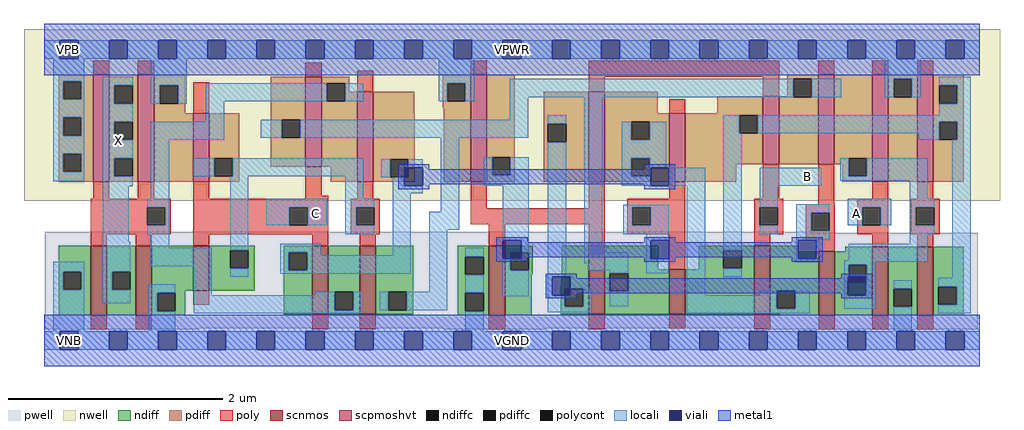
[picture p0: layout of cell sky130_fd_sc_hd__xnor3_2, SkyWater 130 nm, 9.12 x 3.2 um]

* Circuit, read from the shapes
.subckt sky130_fd_sc_hd__xnor3_2 A B C VGND VNB VPB VPWR X
XM1 X n1 VGND VNB sky130_fd_pr__nfet_01v8 w=0.65 l=0.15 m=2
XM2 n2 C VGND VNB sky130_fd_pr__nfet_01v8 w=0.42 l=0.15
XM3 n1 C n3 VNB sky130_fd_pr__nfet_01v8 w=0.64 l=0.15
XM4 n4 n2 n1 VNB sky130_fd_pr__nfet_01v8 w=0.64 l=0.15
XM5 n5 B VGND VNB sky130_fd_pr__nfet_01v8 w=0.65 l=0.15
XM6 n4 B n6 VNB sky130_fd_pr__nfet_01v8 w=0.64 l=0.15
XM7 n7 n5 n4 VNB sky130_fd_pr__nfet_01v8 w=0.42 l=0.15
XM8 n3 B n7 VNB sky130_fd_pr__nfet_01v8 w=0.64 l=0.15
XM9 n6 n5 n3 VNB sky130_fd_pr__nfet_01v8 w=0.6 l=0.15
XM10 VGND A n6 VNB sky130_fd_pr__nfet_01v8 w=0.64 l=0.15
XM11 n7 n6 VGND VNB sky130_fd_pr__nfet_01v8 w=0.64 l=0.15
XM12 X n1 VPWR VPB sky130_fd_pr__pfet_01v8_hvt w=1 l=0.15 m=2
XM13 n2 C VPWR VPB sky130_fd_pr__pfet_01v8_hvt w=0.64 l=0.15
XM14 n1 C n4 VPB sky130_fd_pr__pfet_01v8_hvt w=0.84 l=0.15
XM15 n3 n2 n1 VPB sky130_fd_pr__pfet_01v8_hvt w=0.84 l=0.15
XM16 n5 B VPWR VPB sky130_fd_pr__pfet_01v8_hvt w=1 l=0.15
XM17 n3 B n6 VPB sky130_fd_pr__pfet_01v8_hvt w=0.84 l=0.15
XM18 n7 n5 n3 VPB sky130_fd_pr__pfet_01v8_hvt w=0.64 l=0.15
XM19 n4 B n7 VPB sky130_fd_pr__pfet_01v8_hvt w=0.64 l=0.15
XM20 n6 n5 n4 VPB sky130_fd_pr__pfet_01v8_hvt w=0.84 l=0.15
XM21 VPWR A n6 VPB sky130_fd_pr__pfet_01v8_hvt w=1 l=0.15
XM22 n7 n6 VPWR VPB sky130_fd_pr__pfet_01v8_hvt w=1 l=0.15
.ends

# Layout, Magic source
magic
tech sky130B
magscale 1 2
<< nwell >>
rect -38 261 1786 582
<< pwell >>
rect 1 201 1433 203
rect 1 23 1744 201
rect 1 21 289 23
rect 747 21 937 23
rect 1348 21 1744 23
rect 30 -17 64 21
<< scnmos >>
rect 87 47 117 177
rect 171 47 201 177
rect 278 93 308 177
rect 501 49 531 177
rect 589 49 619 177
rect 831 47 861 177
rect 1017 49 1047 177
rect 1168 49 1198 133
rect 1327 49 1357 177
rect 1447 47 1477 167
rect 1547 47 1577 175
rect 1631 47 1661 175
<< scpmoshvt >>
rect 91 297 121 497
rect 175 297 205 497
rect 278 297 308 425
rect 488 325 518 493
rect 585 297 615 465
rect 797 297 827 497
rect 1017 297 1047 465
rect 1168 297 1198 425
rect 1343 329 1373 457
rect 1446 329 1476 497
rect 1547 297 1577 497
rect 1631 297 1661 497
<< ndiff >>
rect 27 129 87 177
rect 27 95 35 129
rect 69 95 87 129
rect 27 47 87 95
rect 117 129 171 177
rect 117 95 127 129
rect 161 95 171 129
rect 117 47 171 95
rect 201 93 278 177
rect 308 169 393 177
rect 308 135 347 169
rect 381 135 393 169
rect 308 93 393 135
rect 447 165 501 177
rect 447 131 457 165
rect 491 131 501 165
rect 201 89 263 93
rect 201 55 211 89
rect 245 55 263 89
rect 201 47 263 55
rect 447 49 501 131
rect 531 91 589 177
rect 531 57 543 91
rect 577 57 589 91
rect 531 49 589 57
rect 619 91 689 177
rect 619 57 643 91
rect 677 57 689 91
rect 619 49 689 57
rect 773 157 831 177
rect 773 123 787 157
rect 821 123 831 157
rect 773 89 831 123
rect 773 55 787 89
rect 821 55 831 89
rect 773 47 831 55
rect 861 165 913 177
rect 861 131 871 165
rect 905 131 913 165
rect 861 124 913 131
rect 861 47 911 124
rect 967 104 1017 177
rect 965 97 1017 104
rect 965 63 973 97
rect 1007 63 1017 97
rect 965 49 1017 63
rect 1047 133 1147 177
rect 1223 169 1327 177
rect 1223 135 1269 169
rect 1303 135 1327 169
rect 1223 133 1327 135
rect 1047 126 1168 133
rect 1047 92 1057 126
rect 1091 92 1168 126
rect 1047 49 1168 92
rect 1198 49 1327 133
rect 1357 167 1407 177
rect 1497 167 1547 175
rect 1357 93 1447 167
rect 1357 59 1369 93
rect 1403 59 1447 93
rect 1357 49 1447 59
rect 1374 47 1447 49
rect 1477 142 1547 167
rect 1477 108 1503 142
rect 1537 108 1547 142
rect 1477 47 1547 108
rect 1577 97 1631 175
rect 1577 63 1587 97
rect 1621 63 1631 97
rect 1577 47 1631 63
rect 1661 101 1718 175
rect 1661 67 1671 101
rect 1705 67 1718 101
rect 1661 47 1718 67
<< pdiff >>
rect 27 485 91 497
rect 27 451 35 485
rect 69 451 91 485
rect 27 417 91 451
rect 27 383 35 417
rect 69 383 91 417
rect 27 349 91 383
rect 27 315 35 349
rect 69 315 91 349
rect 27 297 91 315
rect 121 477 175 497
rect 121 443 131 477
rect 165 443 175 477
rect 121 409 175 443
rect 121 375 131 409
rect 165 375 175 409
rect 121 341 175 375
rect 121 307 131 341
rect 165 307 175 341
rect 121 297 175 307
rect 205 477 263 497
rect 205 443 216 477
rect 250 443 263 477
rect 205 425 263 443
rect 205 297 278 425
rect 308 341 364 425
rect 308 307 318 341
rect 352 307 364 341
rect 423 413 488 493
rect 423 379 444 413
rect 478 379 488 413
rect 423 325 488 379
rect 518 481 570 493
rect 518 447 528 481
rect 562 465 570 481
rect 745 481 797 497
rect 562 447 585 465
rect 518 325 585 447
rect 308 297 364 307
rect 535 297 585 325
rect 615 423 691 465
rect 745 447 753 481
rect 787 447 797 481
rect 745 435 797 447
rect 615 339 692 423
rect 615 305 646 339
rect 680 305 692 339
rect 615 297 692 305
rect 746 297 797 435
rect 827 343 879 497
rect 827 309 837 343
rect 871 309 879 343
rect 827 297 879 309
rect 933 405 1017 465
rect 933 371 941 405
rect 975 371 1017 405
rect 933 297 1017 371
rect 1047 425 1146 465
rect 1388 489 1446 497
rect 1388 457 1400 489
rect 1258 425 1343 457
rect 1047 409 1168 425
rect 1047 375 1097 409
rect 1131 375 1168 409
rect 1047 341 1168 375
rect 1047 307 1097 341
rect 1131 307 1168 341
rect 1047 297 1168 307
rect 1198 421 1343 425
rect 1198 387 1299 421
rect 1333 387 1343 421
rect 1198 329 1343 387
rect 1373 455 1400 457
rect 1434 455 1446 489
rect 1373 329 1446 455
rect 1476 341 1547 497
rect 1476 329 1503 341
rect 1198 297 1293 329
rect 1491 307 1503 329
rect 1537 307 1547 341
rect 1491 297 1547 307
rect 1577 489 1631 497
rect 1577 455 1587 489
rect 1621 455 1631 489
rect 1577 297 1631 455
rect 1661 477 1718 497
rect 1661 443 1672 477
rect 1706 443 1718 477
rect 1661 409 1718 443
rect 1661 375 1672 409
rect 1706 375 1718 409
rect 1661 297 1718 375
<< ndiffc >>
rect 35 95 69 129
rect 127 95 161 129
rect 347 135 381 169
rect 457 131 491 165
rect 211 55 245 89
rect 543 57 577 91
rect 643 57 677 91
rect 787 123 821 157
rect 787 55 821 89
rect 871 131 905 165
rect 973 63 1007 97
rect 1269 135 1303 169
rect 1057 92 1091 126
rect 1369 59 1403 93
rect 1503 108 1537 142
rect 1587 63 1621 97
rect 1671 67 1705 101
<< pdiffc >>
rect 35 451 69 485
rect 35 383 69 417
rect 35 315 69 349
rect 131 443 165 477
rect 131 375 165 409
rect 131 307 165 341
rect 216 443 250 477
rect 318 307 352 341
rect 444 379 478 413
rect 528 447 562 481
rect 753 447 787 481
rect 646 305 680 339
rect 837 309 871 343
rect 941 371 975 405
rect 1097 375 1131 409
rect 1097 307 1131 341
rect 1299 387 1333 421
rect 1400 455 1434 489
rect 1503 307 1537 341
rect 1587 455 1621 489
rect 1672 443 1706 477
rect 1672 375 1706 409
<< poly >>
rect 91 497 121 523
rect 175 497 205 523
rect 488 493 518 519
rect 278 425 308 483
rect 585 465 615 504
rect 797 497 827 523
rect 91 265 121 297
rect 175 265 205 297
rect 278 265 308 297
rect 488 271 518 325
rect 1017 493 1373 523
rect 1446 497 1476 523
rect 1547 497 1577 523
rect 1631 497 1661 523
rect 1017 465 1047 493
rect 1343 457 1373 493
rect 1168 425 1198 451
rect 488 265 531 271
rect 585 265 615 297
rect 87 249 236 265
rect 87 215 192 249
rect 226 215 236 249
rect 87 199 236 215
rect 278 249 531 265
rect 278 215 458 249
rect 492 215 531 249
rect 278 199 531 215
rect 573 249 627 265
rect 573 215 583 249
rect 617 215 627 249
rect 797 247 827 297
rect 1017 247 1047 297
rect 1168 265 1198 297
rect 1343 265 1373 329
rect 797 217 1047 247
rect 573 199 627 215
rect 87 177 117 199
rect 171 177 201 199
rect 278 177 308 199
rect 501 177 531 199
rect 589 177 619 199
rect 831 177 861 217
rect 1017 177 1047 217
rect 1089 249 1198 265
rect 1089 215 1099 249
rect 1133 215 1198 249
rect 1089 199 1198 215
rect 278 67 308 93
rect 87 21 117 47
rect 171 21 201 47
rect 501 21 531 49
rect 589 21 619 49
rect 1168 133 1198 199
rect 1327 249 1381 265
rect 1446 256 1476 329
rect 1547 265 1577 297
rect 1631 265 1661 297
rect 1446 255 1477 256
rect 1327 215 1337 249
rect 1371 215 1381 249
rect 1327 199 1381 215
rect 1423 239 1477 255
rect 1423 205 1433 239
rect 1467 205 1477 239
rect 1327 177 1357 199
rect 1423 189 1477 205
rect 1519 249 1577 265
rect 1519 215 1529 249
rect 1563 215 1577 249
rect 1519 199 1577 215
rect 1619 249 1673 265
rect 1619 215 1629 249
rect 1663 215 1673 249
rect 1619 199 1673 215
rect 1447 167 1477 189
rect 1547 175 1577 199
rect 1631 175 1661 199
rect 831 21 861 47
rect 1017 21 1047 49
rect 1168 23 1198 49
rect 1327 21 1357 49
rect 1447 21 1477 47
rect 1547 21 1577 47
rect 1631 21 1661 47
<< polycont >>
rect 192 215 226 249
rect 458 215 492 249
rect 583 215 617 249
rect 1099 215 1133 249
rect 1337 215 1371 249
rect 1433 205 1467 239
rect 1529 215 1563 249
rect 1629 215 1663 249
<< locali >>
rect 0 527 29 561
rect 63 527 121 561
rect 155 527 213 561
rect 247 527 305 561
rect 339 527 397 561
rect 431 527 489 561
rect 523 527 581 561
rect 615 527 673 561
rect 707 527 765 561
rect 799 527 857 561
rect 891 527 949 561
rect 983 527 1041 561
rect 1075 527 1133 561
rect 1167 527 1225 561
rect 1259 527 1317 561
rect 1351 527 1409 561
rect 1443 527 1501 561
rect 1535 527 1593 561
rect 1627 527 1685 561
rect 1719 527 1748 561
rect 17 485 75 527
rect 17 451 35 485
rect 69 451 75 485
rect 17 417 75 451
rect 17 383 35 417
rect 69 383 75 417
rect 17 349 75 383
rect 17 315 35 349
rect 69 315 75 349
rect 17 298 75 315
rect 109 477 165 493
rect 109 443 131 477
rect 199 477 266 527
rect 737 481 803 527
rect 1571 489 1638 527
rect 199 443 216 477
rect 250 443 266 477
rect 302 447 528 481
rect 562 447 596 481
rect 737 447 753 481
rect 787 447 803 481
rect 870 455 1400 489
rect 1434 455 1489 489
rect 1571 455 1587 489
rect 1621 455 1638 489
rect 1672 477 1731 493
rect 109 409 165 443
rect 302 409 336 447
rect 870 413 904 455
rect 109 375 131 409
rect 109 341 165 375
rect 109 307 131 341
rect 109 288 165 307
rect 199 375 336 409
rect 404 379 444 413
rect 478 379 904 413
rect 941 405 975 421
rect 109 185 158 288
rect 199 265 233 375
rect 279 307 318 341
rect 352 307 596 341
rect 192 249 233 265
rect 226 215 233 249
rect 192 199 233 215
rect 17 129 75 147
rect 17 95 35 129
rect 69 95 75 129
rect 17 17 75 95
rect 109 129 161 185
rect 198 173 233 199
rect 198 139 313 173
rect 109 95 127 129
rect 109 70 161 95
rect 195 89 245 105
rect 195 55 211 89
rect 195 17 245 55
rect 279 85 313 139
rect 347 169 381 307
rect 562 265 596 307
rect 630 305 646 339
rect 680 323 707 339
rect 651 289 673 305
rect 651 275 707 289
rect 415 249 528 265
rect 415 215 458 249
rect 492 215 528 249
rect 562 249 617 265
rect 562 215 583 249
rect 562 199 617 215
rect 347 119 381 135
rect 441 165 517 181
rect 441 131 457 165
rect 491 159 517 165
rect 651 159 685 275
rect 741 241 775 379
rect 821 309 837 343
rect 871 309 905 343
rect 821 289 905 309
rect 491 131 685 159
rect 441 125 685 131
rect 719 207 775 241
rect 719 91 753 207
rect 857 187 905 289
rect 506 85 543 91
rect 279 57 543 85
rect 577 57 593 91
rect 627 57 643 91
rect 677 57 753 91
rect 787 157 821 173
rect 787 89 821 123
rect 279 51 593 57
rect 891 165 905 187
rect 857 131 871 153
rect 857 83 905 131
rect 941 119 975 371
rect 1009 178 1043 455
rect 1706 443 1731 477
rect 1672 421 1731 443
rect 1079 375 1097 409
rect 1131 375 1162 409
rect 1079 341 1162 375
rect 1079 307 1097 341
rect 1131 323 1162 341
rect 1269 387 1299 421
rect 1333 409 1731 421
rect 1333 387 1672 409
rect 1131 307 1133 323
rect 1079 289 1133 307
rect 1167 289 1235 323
rect 1082 249 1167 254
rect 1082 215 1099 249
rect 1133 215 1167 249
rect 1082 199 1167 215
rect 1125 187 1167 199
rect 1009 165 1051 178
rect 1009 144 1091 165
rect 1017 131 1091 144
rect 1057 126 1091 131
rect 1125 153 1133 187
rect 1125 126 1167 153
rect 941 85 949 119
rect 787 17 821 55
rect 941 63 973 85
rect 1007 63 1023 97
rect 1057 64 1091 92
rect 1201 85 1235 289
rect 1269 169 1303 387
rect 1634 375 1672 387
rect 1706 375 1731 409
rect 1337 289 1453 323
rect 1487 307 1503 341
rect 1537 307 1651 341
rect 1487 299 1651 307
rect 1337 249 1371 289
rect 1617 265 1651 299
rect 1337 199 1371 215
rect 1405 239 1467 255
rect 1405 205 1433 239
rect 1501 249 1583 265
rect 1501 215 1529 249
rect 1563 215 1583 249
rect 1617 249 1663 265
rect 1617 215 1629 249
rect 1405 189 1467 205
rect 1617 199 1663 215
rect 1405 187 1446 189
rect 1405 153 1409 187
rect 1443 153 1446 187
rect 1617 181 1651 199
rect 1405 146 1446 153
rect 1503 150 1651 181
rect 1495 147 1651 150
rect 1269 119 1303 135
rect 1495 142 1553 147
rect 1495 119 1503 142
rect 1337 85 1369 93
rect 941 53 1023 63
rect 1201 59 1369 85
rect 1403 59 1430 93
rect 1495 85 1501 119
rect 1537 108 1553 142
rect 1697 117 1731 375
rect 1535 85 1553 108
rect 1495 59 1553 85
rect 1587 97 1621 113
rect 1201 51 1430 59
rect 1587 17 1621 63
rect 1671 101 1731 117
rect 1705 67 1731 101
rect 1671 51 1731 67
rect 0 -17 29 17
rect 63 -17 121 17
rect 155 -17 213 17
rect 247 -17 305 17
rect 339 -17 397 17
rect 431 -17 489 17
rect 523 -17 581 17
rect 615 -17 673 17
rect 707 -17 765 17
rect 799 -17 857 17
rect 891 -17 949 17
rect 983 -17 1041 17
rect 1075 -17 1133 17
rect 1167 -17 1225 17
rect 1259 -17 1317 17
rect 1351 -17 1409 17
rect 1443 -17 1501 17
rect 1535 -17 1593 17
rect 1627 -17 1685 17
rect 1719 -17 1748 17
<< viali >>
rect 29 527 63 561
rect 121 527 155 561
rect 213 527 247 561
rect 305 527 339 561
rect 397 527 431 561
rect 489 527 523 561
rect 581 527 615 561
rect 673 527 707 561
rect 765 527 799 561
rect 857 527 891 561
rect 949 527 983 561
rect 1041 527 1075 561
rect 1133 527 1167 561
rect 1225 527 1259 561
rect 1317 527 1351 561
rect 1409 527 1443 561
rect 1501 527 1535 561
rect 1593 527 1627 561
rect 1685 527 1719 561
rect 673 305 680 323
rect 680 305 707 323
rect 673 289 707 305
rect 857 165 891 187
rect 857 153 871 165
rect 871 153 891 165
rect 1133 289 1167 323
rect 1133 153 1167 187
rect 949 97 983 119
rect 949 85 973 97
rect 973 85 983 97
rect 1409 153 1443 187
rect 1501 108 1503 119
rect 1503 108 1535 119
rect 1501 85 1535 108
rect 29 -17 63 17
rect 121 -17 155 17
rect 213 -17 247 17
rect 305 -17 339 17
rect 397 -17 431 17
rect 489 -17 523 17
rect 581 -17 615 17
rect 673 -17 707 17
rect 765 -17 799 17
rect 857 -17 891 17
rect 949 -17 983 17
rect 1041 -17 1075 17
rect 1133 -17 1167 17
rect 1225 -17 1259 17
rect 1317 -17 1351 17
rect 1409 -17 1443 17
rect 1501 -17 1535 17
rect 1593 -17 1627 17
rect 1685 -17 1719 17
<< metal1 >>
rect 0 561 1748 592
rect 0 527 29 561
rect 63 527 121 561
rect 155 527 213 561
rect 247 527 305 561
rect 339 527 397 561
rect 431 527 489 561
rect 523 527 581 561
rect 615 527 673 561
rect 707 527 765 561
rect 799 527 857 561
rect 891 527 949 561
rect 983 527 1041 561
rect 1075 527 1133 561
rect 1167 527 1225 561
rect 1259 527 1317 561
rect 1351 527 1409 561
rect 1443 527 1501 561
rect 1535 527 1593 561
rect 1627 527 1685 561
rect 1719 527 1748 561
rect 0 496 1748 527
rect 661 323 719 329
rect 661 289 673 323
rect 707 320 719 323
rect 1121 323 1179 329
rect 1121 320 1133 323
rect 707 292 1133 320
rect 707 289 719 292
rect 661 283 719 289
rect 1121 289 1133 292
rect 1167 289 1179 323
rect 1121 283 1179 289
rect 845 187 903 193
rect 845 153 857 187
rect 891 184 903 187
rect 1121 187 1179 193
rect 1121 184 1133 187
rect 891 156 1133 184
rect 891 153 903 156
rect 845 147 903 153
rect 1121 153 1133 156
rect 1167 184 1179 187
rect 1397 187 1455 193
rect 1397 184 1409 187
rect 1167 156 1409 184
rect 1167 153 1179 156
rect 1121 147 1179 153
rect 1397 153 1409 156
rect 1443 153 1455 187
rect 1397 147 1455 153
rect 937 119 995 125
rect 937 85 949 119
rect 983 116 995 119
rect 1489 119 1547 125
rect 1489 116 1501 119
rect 983 88 1501 116
rect 983 85 995 88
rect 937 79 995 85
rect 1489 85 1501 88
rect 1535 85 1547 119
rect 1489 79 1547 85
rect 0 17 1748 48
rect 0 -17 29 17
rect 63 -17 121 17
rect 155 -17 213 17
rect 247 -17 305 17
rect 339 -17 397 17
rect 431 -17 489 17
rect 523 -17 581 17
rect 615 -17 673 17
rect 707 -17 765 17
rect 799 -17 857 17
rect 891 -17 949 17
rect 983 -17 1041 17
rect 1075 -17 1133 17
rect 1167 -17 1225 17
rect 1259 -17 1317 17
rect 1351 -17 1409 17
rect 1443 -17 1501 17
rect 1535 -17 1593 17
rect 1627 -17 1685 17
rect 1719 -17 1748 17
rect 0 -48 1748 -17
<< labels >>
flabel locali s 121 357 155 391 0 FreeSans 340 0 0 0 X
port 8 nsew signal output
flabel locali s 1409 289 1443 323 0 FreeSans 340 0 0 0 B
port 2 nsew signal input
flabel locali s 489 221 523 255 0 FreeSans 340 0 0 0 C
port 3 nsew signal input
flabel locali s 1501 221 1535 255 0 FreeSans 340 0 0 0 A
port 1 nsew signal input
flabel pwell s 30 -17 64 17 0 FreeSans 200 0 0 0 VNB
port 5 nsew ground bidirectional
flabel nwell s 29 527 63 561 0 FreeSans 200 0 0 0 VPB
port 6 nsew power bidirectional
flabel metal1 s 30 -17 64 17 0 FreeSans 200 0 0 0 VGND
port 4 nsew ground bidirectional abutment
flabel metal1 s 29 527 63 561 0 FreeSans 200 0 0 0 VPWR
port 7 nsew power bidirectional abutment
rlabel comment s 0 0 0 0 4 hkscl5hdv1_xnor3_1
flabel comment s 0 544 0 544 3 FreeSans 200 0 0 0 HHNEC
rlabel metal1 s 0 -48 1748 48 1 VGND
port 4 nsew ground bidirectional abutment
rlabel metal1 s 0 496 1748 592 1 VPWR
port 7 nsew power bidirectional abutment
<< properties >>
string FIXED_BBOX 0 0 1748 544
string GDS_END 592498
string GDS_FILE $PDKPATH/libs.ref/sky130_fd_sc_hd/gds/sky130_fd_sc_hd.gds
string GDS_START 580320
string LEFclass CORE
string LEFsite unithd
string LEFsymmetry X Y R90
string path 0.000 0.000 8.740 0.000 
<< end >>
